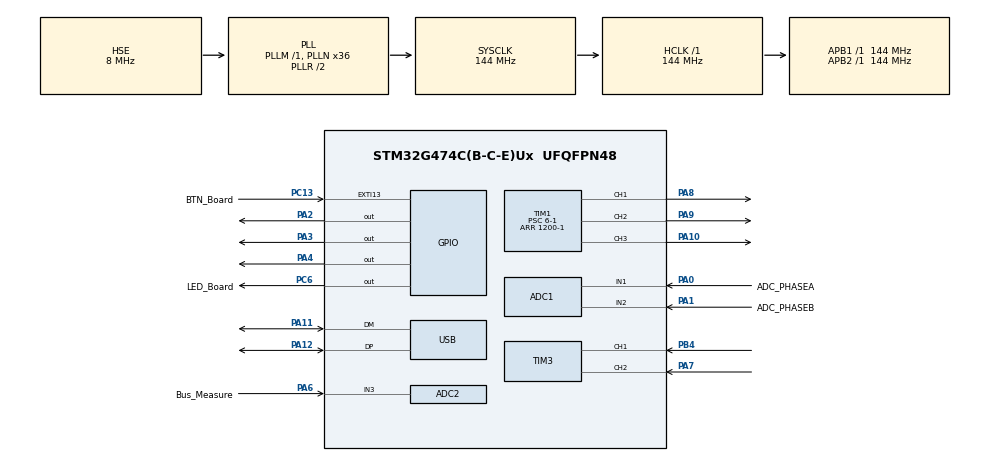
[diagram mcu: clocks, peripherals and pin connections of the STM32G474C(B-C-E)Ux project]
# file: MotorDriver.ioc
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ADC1.Channel-0\#ChannelRegularConversion=ADC_CHANNEL_1
ADC1.NbrOfConversionFlag=1
ADC1.OffsetNumber-0\#ChannelRegularConversion=ADC_OFFSET_NONE
ADC1.Rank-0\#ChannelRegularConversion=1
ADC1.SamplingTime-0\#ChannelRegularConversion=ADC_SAMPLETIME_2CYCLES_5
ADC1.master=1
ADC2.Channel-0\#ChannelRegularConversion=ADC_CHANNEL_3
ADC2.NbrOfConversionFlag=1
ADC2.OffsetNumber-0\#ChannelRegularConversion=ADC_OFFSET_NONE
ADC2.Rank-0\#ChannelRegularConversion=1
ADC2.SamplingTime-0\#ChannelRegularConversion=ADC_SAMPLETIME_2CYCLES_5
Mcu.Family=STM32G4
Mcu.Name=STM32G474C(B-C-E)Ux
Mcu.Package=UFQFPN48
NVIC.EXTI15_10_IRQn=true\:0\:0\:false\:false\:true\:true\:true\:true
NVIC.PriorityGroup=NVIC_PRIORITYGROUP_4
NVIC.TIM1_CC_IRQn=true\:0\:0\:false\:false\:true\:true\:true\:true
NVIC.USB_LP_IRQn=true\:0\:0\:false\:false\:true\:false\:true\:true
PA0.GPIO_Label=ADC_PHASEA
PA0.Mode=IN1-Single-Ended
PA0.Signal=ADC1_IN1
PA1.GPIO_Label=ADC_PHASEB
PA1.Mode=IN2-Single-Ended
PA1.Signal=ADC1_IN2
PA10.Signal=S_TIM1_CH3
PA11.Mode=Device
PA11.Signal=USB_DM
PA12.Mode=Device
PA12.Signal=USB_DP
PA13.Mode=Serial_Wire
PA13.Signal=SYS_JTMS-SWDIO
PA14.Mode=Serial_Wire
PA14.Signal=SYS_JTCK-SWCLK
PA2.Signal=GPIO_Output
PA3.Signal=GPIO_Output
PA4.Signal=GPIO_Output
PA6.GPIO_Label=Bus_Measure
PA6.Mode=IN3-Single-Ended
PA6.Signal=ADC2_IN3
PA7.GPIO_PuPd=GPIO_PULLUP
PA7.Signal=S_TIM3_CH2
PA8.Signal=S_TIM1_CH1
PA9.Signal=S_TIM1_CH2
PB4.GPIO_PuPd=GPIO_PULLUP
PB4.Signal=S_TIM3_CH1
PC13.GPIO_Label=BTN_Board
PC13.GPIO_ModeDefaultEXTI=GPIO_MODE_IT_RISING_FALLING
PC13.GPIO_PuPd=GPIO_PULLDOWN
PC13.Signal=GPXTI13
PC6.GPIO_Label=LED_Board
PC6.Signal=GPIO_Output
PF0-OSC_IN.Mode=HSE-External-Oscillator
PF0-OSC_IN.Signal=RCC_OSC_IN
PF1-OSC_OUT.Mode=HSE-External-Oscillator
PF1-OSC_OUT.Signal=RCC_OSC_OUT
ProjectManager.HeapSize=0x200
ProjectManager.StackSize=0x400
ProjectManager.TargetToolchain=STM32CubeIDE
RCC.ADC12Freq_Value=144000000
RCC.ADC345Freq_Value=144000000
RCC.AHBFreq_Value=144000000
RCC.APB1Freq_Value=144000000
RCC.APB1TimFreq_Value=144000000
RCC.APB2Freq_Value=144000000
RCC.APB2TimFreq_Value=144000000
RCC.CortexFreq_Value=144000000
RCC.EXTERNAL_CLOCK_VALUE=12288000
RCC.HCLKFreq_Value=144000000
RCC.HSE_VALUE=8000000
RCC.HSI48_VALUE=48000000
RCC.HSI_VALUE=16000000
RCC.LSE_VALUE=32768
RCC.PLLN=36
RCC.PLLQ=RCC_PLLQ_DIV6
RCC.PLLSourceVirtual=RCC_PLLSOURCE_HSE
RCC.SYSCLKFreq_VALUE=144000000
RCC.SYSCLKSource=RCC_SYSCLKSOURCE_PLLCLK
RCC.USBFreq_Value=48000000
RCC.VCOOutputFreq_Value=288000000
SH.S_TIM1_CH1.0=TIM1_CH1,PWM Generation1 CH1
SH.S_TIM1_CH2.0=TIM1_CH2,PWM Generation2 CH2
SH.S_TIM1_CH3.0=TIM1_CH3,PWM Generation3 CH3
SH.S_TIM3_CH1.0=TIM3_CH1,Encoder_Interface
SH.S_TIM3_CH2.0=TIM3_CH2,Encoder_Interface
TIM1.Channel-Output\ Compare4\ No\ Output=TIM_CHANNEL_4
TIM1.Channel-PWM\ Generation1\ CH1=TIM_CHANNEL_1
TIM1.Channel-PWM\ Generation2\ CH2=TIM_CHANNEL_2
TIM1.Channel-PWM\ Generation3\ CH3=TIM_CHANNEL_3
TIM1.CounterMode=TIM_COUNTERMODE_CENTERALIGNED3
TIM1.PeriodNoDither=1200-1
TIM1.Prescaler=6-1
TIM1.PulseNoDither_4=1200-1
TIM3.EncoderMode=TIM_ENCODERMODE_TI12
USB_DEVICE.APP_RX_DATA_SIZE=512
USB_DEVICE.APP_TX_DATA_SIZE=512
USB_DEVICE.CLASS_NAME_FS=CDC
USB_DEVICE.VirtualMode=Cdc
USB_DEVICE.VirtualModeFS=Cdc_FS
VP_SYS_VS_DBSignals.Mode=DisableDeadBatterySignals
VP_TIM1_VS_ClockSourceINT.Mode=Internal
VP_TIM1_VS_no_output4.Mode=Output Compare4 No Output
VP_USB_DEVICE_VS_USB_DEVICE_CDC_FS.Mode=CDC_FS
board=custom

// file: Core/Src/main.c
/* USER CODE BEGIN Header */
/**
  ******************************************************************************
  * @file           : main.c
  * @brief          : Main program body
  ******************************************************************************
  * @attention
  *
  * Copyright (c) 2026 STMicroelectronics.
  * All rights reserved.
  *
  * This software is licensed under terms that can be found in the LICENSE file
  * in the root directory of this software component.
  * If no LICENSE file comes with this software, it is provided AS-IS.
  *
  ******************************************************************************
  */
/* USER CODE END Header */
#include "main.h"
#include "adc.h"
#include "tim.h"
#include "usb_device.h"
#include "gpio.h"

/* USER CODE BEGIN Includes */
#include "arm_math.h"
#include "MotorDriver.h"
#include "usbd_cdc_if.h"
/* USER CODE END Includes */

/* USER CODE BEGIN PD */
#define DFU_BOOT_FLAG 0xDEADBEEF
/* USER CODE END PD */

/* USER CODE BEGIN PV */
extern int _bflag;
uint32_t *dfu_boot_flag;
uint32_t push_count = 0;

Encoder encM1;
ThreePhaseInverter inversor;
Current_sensor PhaseA;
Current_sensor PhaseB;
Motor MotorRed1;
/* USER CODE END PV */

void SystemClock_Config(void);

/* USER CODE BEGIN 0 */
void HAL_GPIO_EXTI_Callback (uint16_t GPIO_Pin){
	if(GPIO_Pin == BTN_Board_Pin){

		GPIO_PinState pinState = HAL_GPIO_ReadPin(BTN_Board_GPIO_Port, BTN_Board_Pin);
		if(pinState == GPIO_PIN_SET){
			push_count = HAL_GetTick();
		} else {
			if(HAL_GetTick() - push_count > 1000){
				*dfu_boot_flag = DFU_BOOT_FLAG;
				HAL_NVIC_SystemReset();
			}
			push_count = 0 ;
		}
	}
}
/* USER CODE END 0 */

int main(void)
{

  /* USER CODE BEGIN 1 */
	dfu_boot_flag = (uint32_t *) (&_bflag);
  /* USER CODE END 1 */

  /* MCU Configuration--------------------------------------------------------*/

  /* Reset of all peripherals, Initializes the Flash interface and the Systick. */
  HAL_Init();

  /* Configure the system clock */
  SystemClock_Config();

  /* Initialize all configured peripherals */
  MX_GPIO_Init();
  MX_USB_Device_Init();
  MX_ADC1_Init();
  MX_TIM1_Init();
  MX_ADC2_Init();
  MX_TIM3_Init();
  /* USER CODE BEGIN 2 */
  float Vbus = 10;
  SetInverter(&inversor, (TIM_HandleTypeDef*[]){&htim1,&htim1,&htim1} , (uint32_t[]){TIM_CHANNEL_1,TIM_CHANNEL_2,TIM_CHANNEL_3} , (GPIO_TypeDef*[]){GPIOA,GPIOA,GPIOA}, (uint16_t[]){GPIO_PIN_2,GPIO_PIN_3,GPIO_PIN_4}, 1);
  HAL_TIM_PWM_Init(&htim1);
  HAL_TIM_PWM_Start(&htim1, TIM_CHANNEL_1);
  HAL_TIM_PWM_Start(&htim1, TIM_CHANNEL_2);
  HAL_TIM_PWM_Start(&htim1, TIM_CHANNEL_3);
  setEncoder(&encM1, &htim3, 4096);
 //HAL_TIM_Encoder_Start(&htim2, TIM_CHANNEL_ALL);
  SetCurrentSensor(&PhaseA, &hadc1, ADC_CHANNEL_1, 1);
  SetCurrentSensor(&PhaseB, &hadc1, ADC_CHANNEL_2, 1);
  SetMotorParameters(&MotorRed1, 0.000787, 0.01154, 0.127, 0.1, 0.85, Vbus/SQRT3, 11, &encM1);
  SetMotorFOC(&MotorRed1,&inversor, (float[]){8.688, 3.119},(float[]){0.0914, 0.0894}, &PhaseA, &PhaseB, 100, 100000);
  MotorRed1.Inverter->Bus_voltage = Vbus;
  CalibrateCurrentOffset(&MotorRed1);
  AlignMotor(&MotorRed1, 5);
  ApplyVoltageVector(&MotorRed1, 2,0, Vbus, 0);
  HAL_TIM_OC_Start_IT(&htim1, TIM_CHANNEL_4);
  /* USER CODE END 2 */

  /* Infinite loop */
  /* USER CODE BEGIN WHILE */

  uint32_t now = 0, next_blink = 50;
  while (1)
  {
	  now = uwTick;
	  if  (now >= next_blink){
		 HAL_GPIO_TogglePin(LED_Board_GPIO_Port,LED_Board_Pin);
		 //updateEncoder(&MotorRed1);
		 //printf("ENcoder %f\r\n",MotorRed1.encoder->MechanicalAngle);
		 //printf("Fase B %d\r\n",MotorRed1.PhaseB->Offset);
		 next_blink = now+50;
	  }
    /* USER CODE END WHILE */

  }
}

void SystemClock_Config(void)
{
  RCC_OscInitTypeDef RCC_OscInitStruct = {0};
  RCC_ClkInitTypeDef RCC_ClkInitStruct = {0};

  /** Configure the main internal regulator output voltage
  */
  HAL_PWREx_ControlVoltageScaling(PWR_REGULATOR_VOLTAGE_SCALE1);

  /** Initializes the RCC Oscillators according to the specified parameters
  * in the RCC_OscInitTypeDef structure.
  */
  RCC_OscInitStruct.OscillatorType = RCC_OSCILLATORTYPE_HSE;
  RCC_OscInitStruct.HSEState = RCC_HSE_ON;
  RCC_OscInitStruct.PLL.PLLState = RCC_PLL_ON;
  RCC_OscInitStruct.PLL.PLLSource = RCC_PLLSOURCE_HSE;
  RCC_OscInitStruct.PLL.PLLM = RCC_PLLM_DIV1;
  RCC_OscInitStruct.PLL.PLLN = 36;
  RCC_OscInitStruct.PLL.PLLP = RCC_PLLP_DIV2;
  RCC_OscInitStruct.PLL.PLLQ = RCC_PLLQ_DIV6;
  RCC_OscInitStruct.PLL.PLLR = RCC_PLLR_DIV2;
  if (HAL_RCC_OscConfig(&RCC_OscInitStruct) != HAL_OK)
  {
    Error_Handler();
  }

  /** Initializes the CPU, AHB and APB buses clocks
  */
  RCC_ClkInitStruct.ClockType = RCC_CLOCKTYPE_HCLK|RCC_CLOCKTYPE_SYSCLK
                              |RCC_CLOCKTYPE_PCLK1|RCC_CLOCKTYPE_PCLK2;
  RCC_ClkInitStruct.SYSCLKSource = RCC_SYSCLKSOURCE_PLLCLK;
  RCC_ClkInitStruct.AHBCLKDivider = RCC_SYSCLK_DIV1;
  RCC_ClkInitStruct.APB1CLKDivider = RCC_HCLK_DIV1;
  RCC_ClkInitStruct.APB2CLKDivider = RCC_HCLK_DIV1;

  if (HAL_RCC_ClockConfig(&RCC_ClkInitStruct, FLASH_LATENCY_4) != HAL_OK)
  {
    Error_Handler();
  }
}

/* USER CODE BEGIN 4 */
int _write(int file, char *ptr, int len)
{
    while (CDC_Transmit_FS((uint8_t *)ptr, len) == USBD_BUSY)
    {
        HAL_Delay(1);
    }
    return len;
}

void HAL_TIM_OC_DelayElapsedCallback(TIM_HandleTypeDef *htim)
{
    if (htim->Instance == TIM1)
    {
        if (htim->Channel == HAL_TIM_ACTIVE_CHANNEL_4)
        {
            //updateFOCController(&MotorRed1, 0.05, 0);
        }
    }
}

/* USER CODE END 4 */

void Error_Handler(void)
{
  __disable_irq();
  while (1)
  {
  }
}
